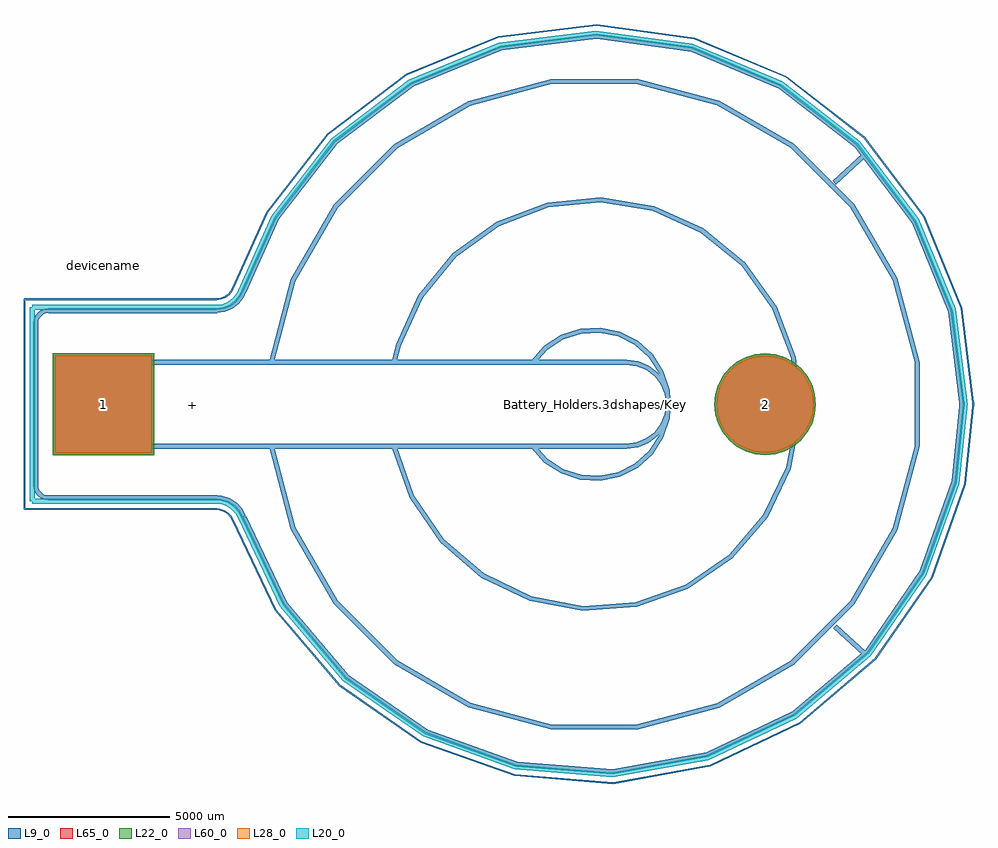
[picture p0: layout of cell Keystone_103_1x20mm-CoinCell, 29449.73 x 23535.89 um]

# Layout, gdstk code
import gdstk
lib = gdstk.Library(unit=1e-6, precision=1e-09)
def R(c, l, rs):  # rectangles x0, y0, x1, y1
    for r in rs: c.add(gdstk.rectangle(r[:2], r[2:], *l))
def P(c, l, *ps):  # polygons
    for p in ps: c.add(gdstk.Polygon(p, *l))
L9_0 = (9, 0)
L20_0 = (20, 0)
L22_0 = (22, 0)
L28_0 = (28, 0)
L60_0 = (60, 0)
L65_0 = (65, 0)

keystone_103_1x20mm_coin = lib.new_cell('Keystone_103_1x20mm-CoinCell')
R(keystone_103_1x20mm_coin, L22_0, [(-1575,-1575,1575,1575)])
P(keystone_103_1x20mm_coin, L22_0, [(22065,0),(22034.737,307.267),(21945.11,602.726),(21799.565,875.023),(21603.693,1113.693),(21365.023,1309.565),(21092.726,1455.11),(20797.267,1544.737),(20490,1575),(20182.733,1544.737),(19887.274,1455.11),(19614.977,1309.565),(19376.307,1113.693),(19180.435,875.023),(19034.89,602.726),(18945.263,307.267),(18915,0),(18945.263,-307.267),(19034.89,-602.726),(19180.435,-875.023),(19376.307,-1113.693),(19614.977,-1309.565),(19887.274,-1455.11),(20182.733,-1544.737),(20490,-1575),(20797.267,-1544.737),(21092.726,-1455.11),(21365.023,-1309.565),(21603.693,-1113.693),(21799.565,-875.023),(21945.11,-602.726),(22034.737,-307.267)])
R(keystone_103_1x20mm_coin, L28_0, [(-1500,-1500,1500,1500)])
P(keystone_103_1x20mm_coin, L28_0, [(21990,0),(21961.178,292.635),(21875.819,574.025),(21737.204,833.355),(21550.66,1060.66),(21323.355,1247.204),(21064.025,1385.819),(20782.635,1471.178),(20490,1500),(20197.365,1471.178),(19915.975,1385.819),(19656.645,1247.204),(19429.34,1060.66),(19242.796,833.355),(19104.181,574.025),(19018.822,292.635),(18990,0),(19018.822,-292.635),(19104.181,-574.025),(19242.796,-833.355),(19429.34,-1060.66),(19656.645,-1247.204),(19915.975,-1385.819),(20197.365,-1471.178),(20490,-1500),(20782.635,-1471.178),(21064.025,-1385.819),(21323.355,-1247.204),(21550.66,-1060.66),(21737.204,-833.355),(21875.819,-574.025),(21961.178,-292.635)])
R(keystone_103_1x20mm_coin, L60_0, [(-1500,-1500,1500,1500)])
P(keystone_103_1x20mm_coin, L60_0, [(21990,0),(21961.178,292.635),(21875.819,574.025),(21737.204,833.355),(21550.66,1060.66),(21323.355,1247.204),(21064.025,1385.819),(20782.635,1471.178),(20490,1500),(20197.365,1471.178),(19915.975,1385.819),(19656.645,1247.204),(19429.34,1060.66),(19242.796,833.355),(19104.181,574.025),(19018.822,292.635),(18990,0),(19018.822,-292.635),(19104.181,-574.025),(19242.796,-833.355),(19429.34,-1060.66),(19656.645,-1247.204),(19915.975,-1385.819),(20197.365,-1471.178),(20490,-1500),(20782.635,-1471.178),(21064.025,-1385.819),(21323.355,-1247.204),(21550.66,-1060.66),(21737.204,-833.355),(21875.819,-574.025),(21961.178,-292.635)])
R(keystone_103_1x20mm_coin, L65_0, [(-1575,-1575,1575,1575)])
P(keystone_103_1x20mm_coin, L65_0, [(22065,0),(22034.737,307.267),(21945.11,602.726),(21799.565,875.023),(21603.693,1113.693),(21365.023,1309.565),(21092.726,1455.11),(20797.267,1544.737),(20490,1575),(20182.733,1544.737),(19887.274,1455.11),(19614.977,1309.565),(19376.307,1113.693),(19180.435,875.023),(19034.89,602.726),(18945.263,307.267),(18915,0),(18945.263,-307.267),(19034.89,-602.726),(19180.435,-875.023),(19376.307,-1113.693),(19614.977,-1309.565),(19887.274,-1455.11),(20182.733,-1544.737),(20490,-1575),(20797.267,-1544.737),(21092.726,-1455.11),(21365.023,-1309.565),(21603.693,-1113.693),(21799.565,-875.023),(21945.11,-602.726),(22034.737,-307.267)])
keystone_103_1x20mm_coin.add(gdstk.FlexPath([(-1700,2900),(-1803.528,2886.37),(-1900,2846.41),(-1982.843,2782.843),(-2046.41,2700),(-2086.37,2603.528),(-2100,2500)], 149.998, ends="flush", simple_path=True, layer=9, datatype=0))  # L9_0
keystone_103_1x20mm_coin.add(gdstk.FlexPath([(-2100,-2500),(-2086.37,-2603.528),(-2046.41,-2700),(-1982.843,-2782.843),(-1900,-2846.41),(-1803.528,-2886.37),(-1700,-2900)], 149.998, ends="flush", simple_path=True, layer=9, datatype=0))  # L9_0
keystone_103_1x20mm_coin.add(gdstk.FlexPath([(0,1300),(0,-1300)], 149.998, ends="flush", simple_path=True, layer=9, datatype=0))  # L9_0
keystone_103_1x20mm_coin.add(gdstk.FlexPath([(16200,-1300),(16536.465,-1255.704),(16850,-1125.833),(17119.239,-919.239),(17325.833,-650),(17455.704,-336.465),(17500,0),(17455.704,336.465),(17325.833,650),(17119.239,919.239),(16850,1125.833),(16536.465,1255.704),(16200,1300)], 149.998, ends="flush", simple_path=True, layer=9, datatype=0))  # L9_0
keystone_103_1x20mm_coin.add(gdstk.FlexPath([(3500,2900),(3732.937,2930.667),(3950,3020.577),(4136.396,3163.604),(4279.423,3350),(4345.723,3492.182)], 149.998, ends="flush", simple_path=True, layer=9, datatype=0))  # L9_0
keystone_103_1x20mm_coin.add(gdstk.FlexPath([(16200,1300),(0,1300)], 149.998, ends="flush", simple_path=True, layer=9, datatype=0))  # L9_0
keystone_103_1x20mm_coin.add(gdstk.FlexPath([(0,-1300),(16200,-1300)], 149.998, ends="flush", simple_path=True, layer=9, datatype=0))  # L9_0
keystone_103_1x20mm_coin.add(gdstk.FlexPath([(-2100,2500),(-2100,-2500)], 149.998, ends="flush", simple_path=True, layer=9, datatype=0))  # L9_0
keystone_103_1x20mm_coin.add(gdstk.FlexPath([(-1700,-2900),(3530.6,-2900)], 149.998, ends="flush", simple_path=True, layer=9, datatype=0))  # L9_0
keystone_103_1x20mm_coin.add(gdstk.FlexPath([(3530.6,2900),(-1700,2900)], 149.998, ends="flush", simple_path=True, layer=9, datatype=0))  # L9_0
keystone_103_1x20mm_coin.add(gdstk.FlexPath([(25200,-1299.999),(25195.723,1332.488),(24510.254,3874.168),(23190.306,6151.83),(21325.832,8010.255),(19043.893,9322.794),(16499.999,10000),(13867.512,9995.723),(11325.832,9310.254),(9048.17,7990.306),(7189.745,6125.832),(5877.206,3843.893),(5200,1300)], 149.998, ends="flush", simple_path=True, layer=9, datatype=0))  # L9_0
keystone_103_1x20mm_coin.add(gdstk.FlexPath([(21531.55,-203.631),(21368.511,1442.033),(20785.099,2989.425),(19821.071,4333.093),(18542.125,5381.468),(17035.418,6063.104),(15403.631,6331.55),(13757.967,6168.512),(12210.574,5585.099),(10866.907,4621.071),(9818.532,3342.125),(9136.895,1835.418),(9000,1300)], 149.998, ends="flush", simple_path=True, layer=9, datatype=0))  # L9_0
keystone_103_1x20mm_coin.add(gdstk.FlexPath([(17495.448,-175.833),(17462.741,424.264),(17275.833,995.448),(16947.46,1498.794),(16500,1900),(15963.947,2171.724),(15375.833,2295.448),(14775.736,2262.742),(14204.552,2075.833),(13701.206,1747.46),(13300,1300)], 149.998, ends="flush", simple_path=True, layer=9, datatype=0))  # L9_0
keystone_103_1x20mm_coin.add(gdstk.FlexPath([(23571.2,7721.6),(22631.4,6858)], 149.998, ends="flush", simple_path=True, layer=9, datatype=0))  # L9_0
keystone_103_1x20mm_coin.add(gdstk.FlexPath([(23571.2,-7721.6),(22656.8,-6883.4)], 149.998, ends="flush", simple_path=True, layer=9, datatype=0))  # L9_0
keystone_103_1x20mm_coin.add(gdstk.FlexPath([(13300,-1300),(13701.206,-1747.46),(14204.552,-2075.833),(14775.736,-2262.742),(15375.833,-2295.448),(15963.947,-2171.724),(16500,-1900),(16947.46,-1498.794),(17275.833,-995.448),(17462.741,-424.264),(17495.448,175.833)], 149.998, ends="flush", simple_path=True, layer=9, datatype=0))  # L9_0
keystone_103_1x20mm_coin.add(gdstk.FlexPath([(9000,-1300),(9547.725,-2860.382),(10480.643,-4225.833),(11735.177,-5303.301),(13225.833,-6019.357),(14851.026,-6325.205),(16500,-6200),(18060.381,-5652.275),(19425.833,-4719.357),(20503.3,-3464.823),(21219.357,-1974.167),(21525.204,-348.974),(21531.55,203.631)], 149.998, ends="flush", simple_path=True, layer=9, datatype=0))  # L9_0
keystone_103_1x20mm_coin.add(gdstk.FlexPath([(-2200,-3000),(3500,-3000)], 149.998, ends="flush", simple_path=True, layer=20, datatype=0))  # L20_0
keystone_103_1x20mm_coin.add(gdstk.FlexPath([(-2200,-3000),(-2200,3000)], 149.998, ends="flush", simple_path=True, layer=20, datatype=0))  # L20_0
keystone_103_1x20mm_coin.add(gdstk.FlexPath([(-2200,3000),(3500,3000)], 149.998, ends="flush", simple_path=True, layer=20, datatype=0))  # L20_0
keystone_103_1x20mm_coin.add(gdstk.FlexPath([(-2450,-3250),(-2450,3250)], 50, ends="flush", simple_path=True, layer=9, datatype=0))  # L9_0
keystone_103_1x20mm_coin.add(gdstk.FlexPath([(-2450,-3250),(3500,-3250)], 50, ends="flush", simple_path=True, layer=9, datatype=0))  # L9_0
keystone_103_1x20mm_coin.add(gdstk.FlexPath([(-2450,3250),(3500,3250)], 50, ends="flush", simple_path=True, layer=9, datatype=0))  # L9_0
keystone_103_1x20mm_coin.add(gdstk.FlexPath([(5200,-1300),(5877.207,-3843.894),(7189.746,-6125.833),(9048.171,-7990.307),(11325.833,-9310.254),(13867.513,-9995.723),(16500,-10000),(19043.894,-9322.793),(21325.833,-8010.254),(23190.307,-6151.829),(24510.254,-3874.167),(25195.723,-1332.487),(25200,1299.999)], 149.998, ends="flush", simple_path=True, layer=9, datatype=0))  # L9_0
keystone_103_1x20mm_coin.add(gdstk.FlexPath([(26600.299,-75.351),(26231.346,2877.831),(25110.624,5634.894),(23314.51,8007.948),(20965.405,9835.273),(18223.398,10992.341),(15275.351,11400.299),(12322.169,11031.346),(9565.106,9910.624),(7192.052,8114.51),(5364.727,5765.405),(4350,3500)], 149.998, ends="flush", simple_path=True, layer=9, datatype=0))  # L9_0
keystone_103_1x20mm_coin.add(gdstk.FlexPath([(4350,-3500),(5625.571,-6188.927),(7553.624,-8456.089),(10002.765,-10146.982),(12806.089,-11146.376),(15772.554,-11386.162),(18700,-10850),(21388.927,-9574.428),(23656.089,-7646.376),(25346.982,-5197.235),(26346.375,-2393.911),(26600.299,75.351)], 149.998, ends="flush", simple_path=True, layer=9, datatype=0))  # L9_0
keystone_103_1x20mm_coin.add(gdstk.FlexPath([(4345.723,-3492.182),(4237.237,-3283.781),(4078.509,-3110.56),(3880.356,-2984.323),(3656.283,-2913.673),(3500,-2900)], 149.998, ends="flush", simple_path=True, layer=9, datatype=0))  # L9_0
keystone_103_1x20mm_coin.add(gdstk.FlexPath([(3500,3000),(3707.055,3027.259),(3900,3107.18),(4065.685,3234.315),(4192.82,3400),(4251.754,3526.384)], 149.998, ends="flush", simple_path=True, layer=20, datatype=0))  # L20_0
keystone_103_1x20mm_coin.add(gdstk.FlexPath([(26695.67,-45.28),(26315.684,2931.561),(25178.182,5708.621),(23360.684,8096.649),(20987.049,9932.903),(18219.036,11092.246),(15245.28,11495.671),(12268.439,11115.684),(9491.378,9978.183),(7103.351,8160.685),(5267.097,5787.049),(4250,3500)], 149.998, ends="flush", simple_path=True, layer=20, datatype=0))  # L20_0
keystone_103_1x20mm_coin.add(gdstk.FlexPath([(4251.754,-3526.384),(4155.322,-3341.139),(4014.23,-3187.165),(3838.095,-3074.954),(3638.919,-3012.154),(3500,-3000)], 149.998, ends="flush", simple_path=True, layer=20, datatype=0))  # L20_0
keystone_103_1x20mm_coin.add(gdstk.FlexPath([(4250,-3500),(5528.979,-6214.809),(7467.022,-8506.089),(9932.055,-10217.693),(12756.089,-11232.978),(15746.672,-11482.754),(18700,-10950),(21414.809,-9671.021),(23706.088,-7732.978),(25417.692,-5267.945),(26432.977,-2443.911),(26695.67,45.28)], 149.998, ends="flush", simple_path=True, layer=20, datatype=0))  # L20_0
keystone_103_1x20mm_coin.add(gdstk.FlexPath([(3500,3250),(3642.35,3268.741),(3775,3323.686),(3888.908,3411.092),(3976.313,3525),(4016.83,3611.889)], 50, ends="flush", simple_path=True, layer=9, datatype=0))  # L9_0
keystone_103_1x20mm_coin.add(gdstk.FlexPath([(4016.83,-3611.889),(3950.533,-3484.533),(3853.533,-3378.676),(3732.44,-3301.531),(3595.506,-3258.356),(3500,-3250)], 50, ends="flush", simple_path=True, layer=9, datatype=0))  # L9_0
keystone_103_1x20mm_coin.add(gdstk.FlexPath([(26949.864,-69.986),(26567.611,2973.487),(25410.674,5814.322),(23557.896,8258.921),(21135.542,10140.688),(18308.69,11331.384),(15269.986,11749.865),(12226.513,11367.611),(9385.677,10210.674),(6941.078,8357.897),(5059.312,5935.542),(4015,3600)], 50, ends="flush", simple_path=True, layer=9, datatype=0))  # L9_0
keystone_103_1x20mm_coin.add(gdstk.FlexPath([(4015,-3600),(5327.868,-6372.224),(7313.506,-8710.191),(9836.595,-10454.574),(12725.192,-11486.494),(15782.442,-11735.628),(18800,-11184.999),(21572.224,-9872.131),(23910.191,-7886.494),(25654.573,-5363.405),(26686.493,-2474.808),(26949.864,69.986)], 50, ends="flush", simple_path=True, layer=9, datatype=0))  # L9_0
keystone_103_1x20mm_coin.add(gdstk.Label('Battery_Holders.3dshapes/Keystone_103_1x20mm-CoinCell.wrl', (15240,0), layer=12, texttype=0))
keystone_103_1x20mm_coin.add(gdstk.Label('1', (0,0), layer=28, texttype=0))
keystone_103_1x20mm_coin.add(gdstk.Label('2', (20490,0), layer=28, texttype=0))
keystone_103_1x20mm_coin.add(gdstk.Label('+', (2750,0), layer=9, texttype=0))
keystone_103_1x20mm_coin.add(gdstk.Label('type', (15000,-13000), layer=9, texttype=0))
keystone_103_1x20mm_coin.add(gdstk.Label('devicename', (0,4300), layer=9, texttype=0))

lib.write_gds('Keystone_103_1x20mm-CoinCell.gds')
